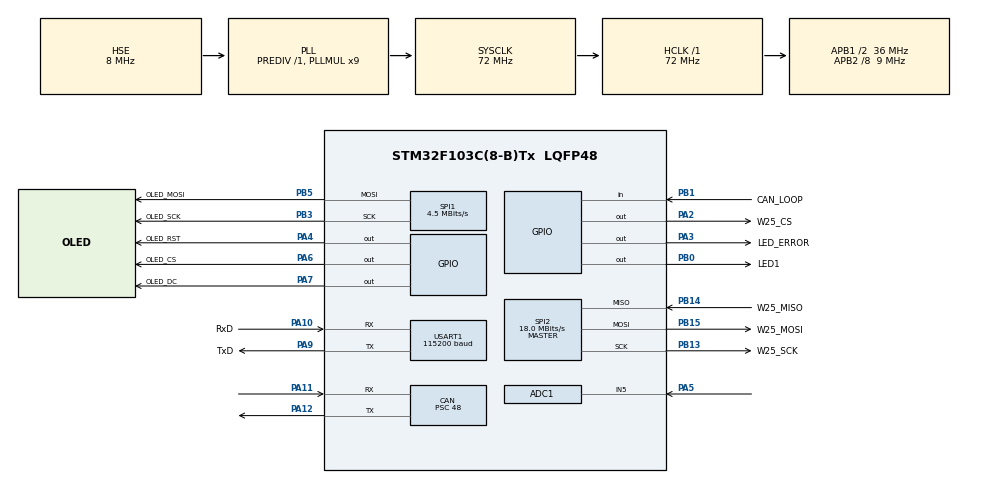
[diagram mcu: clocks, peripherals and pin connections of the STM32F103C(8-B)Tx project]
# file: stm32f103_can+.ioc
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ADC1.Channel-0\#ChannelRegularConversion=ADC_CHANNEL_5
ADC1.ContinuousConvMode=ENABLE
ADC1.NbrOfConversionFlag=1
ADC1.Rank-0\#ChannelRegularConversion=1
ADC1.SamplingTime-0\#ChannelRegularConversion=ADC_SAMPLETIME_1CYCLE_5
ADC1.master=1
CAN.ABOM=DISABLE
CAN.AWUM=DISABLE
CAN.BS1=CAN_BS1_3TQ
CAN.BS2=CAN_BS2_2TQ
CAN.CalculateTimeBit=8000
CAN.CalculateTimeQuantum=1333.3333333333335
CAN.Mode=CAN_MODE_NORMAL
CAN.NART=DISABLE
CAN.Prescaler=48
CAN.RFLM=DISABLE
CAN.TTCM=DISABLE
CAN.TXFP=DISABLE
Dma.Request0=USART1_TX
Dma.Request1=SPI1_TX
Dma.SPI1_TX.1.Direction=DMA_MEMORY_TO_PERIPH
Dma.SPI1_TX.1.Instance=DMA1_Channel3
Dma.SPI1_TX.1.MemDataAlignment=DMA_MDATAALIGN_BYTE
Dma.SPI1_TX.1.MemInc=DMA_MINC_ENABLE
Dma.SPI1_TX.1.Mode=DMA_NORMAL
Dma.SPI1_TX.1.PeriphDataAlignment=DMA_PDATAALIGN_BYTE
Dma.SPI1_TX.1.PeriphInc=DMA_PINC_DISABLE
Dma.SPI1_TX.1.Priority=DMA_PRIORITY_MEDIUM
Dma.USART1_TX.0.Direction=DMA_MEMORY_TO_PERIPH
Dma.USART1_TX.0.Instance=DMA1_Channel4
Dma.USART1_TX.0.MemDataAlignment=DMA_MDATAALIGN_BYTE
Dma.USART1_TX.0.MemInc=DMA_MINC_ENABLE
Dma.USART1_TX.0.Mode=DMA_NORMAL
Dma.USART1_TX.0.PeriphDataAlignment=DMA_PDATAALIGN_BYTE
Dma.USART1_TX.0.PeriphInc=DMA_PINC_DISABLE
Dma.USART1_TX.0.Priority=DMA_PRIORITY_HIGH
FREERTOS.HEAP_NUMBER=4
FREERTOS.INCLUDE_eTaskGetState=1
FREERTOS.INCLUDE_pcTaskGetTaskName=1
FREERTOS.INCLUDE_uxTaskGetStackHighWaterMark=1
FREERTOS.INCLUDE_vTaskCleanUpResources=1
FREERTOS.INCLUDE_vTaskDelayUntil=1
FREERTOS.INCLUDE_xEventGroupSetBitFromISR=0
FREERTOS.INCLUDE_xQueueGetMutexHolder=1
FREERTOS.INCLUDE_xSemaphoreGetMutexHolder=1
FREERTOS.INCLUDE_xTaskAbortDelay=1
FREERTOS.INCLUDE_xTaskGetCurrentTaskHandle=1
FREERTOS.INCLUDE_xTaskGetHandle=1
FREERTOS.INCLUDE_xTimerPendFunctionCall=0
FREERTOS.MEMORY_ALLOCATION=0
FREERTOS.Tasks01=defTask,-3,768,TaskDef,Default,NULL,Dynamic,NULL,NULL
FREERTOS.configCHECK_FOR_STACK_OVERFLOW=0
FREERTOS.configMINIMAL_STACK_SIZE=128
FREERTOS.configQUEUE_REGISTRY_SIZE=4
FREERTOS.configTOTAL_HEAP_SIZE=12288
FREERTOS.configUSE_APPLICATION_TASK_TAG=1
FREERTOS.configUSE_COUNTING_SEMAPHORES=1
FREERTOS.configUSE_CO_ROUTINES=0
FREERTOS.configUSE_IDLE_HOOK=1
FREERTOS.configUSE_MALLOC_FAILED_HOOK=1
FREERTOS.configUSE_MUTEXES=1
FREERTOS.configUSE_RECURSIVE_MUTEXES=1
FREERTOS.configUSE_TICKLESS_IDLE=1
FREERTOS.configUSE_TICK_HOOK=1
FREERTOS.configUSE_TIMERS=0
Mcu.Family=STM32F1
Mcu.Name=STM32F103C(8-B)Tx
Mcu.Package=LQFP48
NVIC.ADC1_2_IRQn=true\:15\:0\:true\:false\:true\:false\:true\:true
NVIC.DMA1_Channel3_IRQn=true\:5\:0\:false\:false\:true\:true\:false\:true
NVIC.DMA1_Channel4_IRQn=true\:6\:0\:true\:false\:true\:true\:false\:true
NVIC.PriorityGroup=NVIC_PRIORITYGROUP_4
NVIC.RTC_IRQn=true\:2\:0\:true\:false\:true\:false\:true\:true
NVIC.SPI1_IRQn=true\:4\:0\:true\:false\:true\:false\:true\:true
NVIC.SPI2_IRQn=true\:5\:0\:true\:false\:true\:true\:true\:true
NVIC.TIM1_UP_IRQn=true\:1\:0\:true\:false\:true\:false\:true\:true
NVIC.TIM4_IRQn=true\:0\:0\:false\:false\:true\:false\:false\:true
NVIC.TimeBase=TIM4_IRQn
NVIC.TimeBaseIP=TIM4
NVIC.USART1_IRQn=true\:3\:0\:true\:false\:true\:false\:true\:true
NVIC.USB_LP_CAN1_RX0_IRQn=true\:7\:0\:true\:false\:true\:false\:true\:true
PA10.GPIO_Label=RxD
PA10.GPIO_Mode=GPIO_MODE_INPUT
PA10.GPIO_PuPd=GPIO_NOPULL
PA10.Mode=Asynchronous
PA10.Signal=USART1_RX
PA11.Mode=Master
PA11.Signal=CAN_RX
PA12.Mode=Master
PA12.Signal=CAN_TX
PA13.Mode=Serial_Wire
PA13.Signal=SYS_JTMS-SWDIO
PA14.Mode=Serial_Wire
PA14.Signal=SYS_JTCK-SWCLK
PA2.GPIO_Label=W25_CS
PA2.GPIO_PuPd=GPIO_PULLUP
PA2.Signal=GPIO_Output
PA3.GPIO_Label=LED_ERROR
PA3.GPIO_PuPd=GPIO_PULLUP
PA3.Signal=GPIO_Output
PA4.GPIO_Label=OLED_RST
PA4.GPIO_PuPd=GPIO_NOPULL
PA4.GPIO_Speed=GPIO_SPEED_FREQ_HIGH
PA4.Signal=GPIO_Output
PA5.Signal=ADCx_IN5
PA6.GPIO_Label=OLED_CS
PA6.GPIO_PuPd=GPIO_NOPULL
PA6.GPIO_Speed=GPIO_SPEED_FREQ_HIGH
PA6.Signal=GPIO_Output
PA7.GPIO_Label=OLED_DC
PA7.GPIO_PuPd=GPIO_NOPULL
PA7.GPIO_Speed=GPIO_SPEED_FREQ_HIGH
PA7.Signal=GPIO_Output
PA9.GPIO_Label=TxD
PA9.GPIO_Mode=GPIO_MODE_AF_PP
PA9.GPIO_Speed=GPIO_SPEED_FREQ_HIGH
PA9.Mode=Asynchronous
PA9.Signal=USART1_TX
PB0.GPIO_Label=LED1
PB0.GPIO_ModeDefaultOutputPP=GPIO_MODE_OUTPUT_PP
PB0.GPIO_PuPd=GPIO_PULLUP
PB0.GPIO_Speed=GPIO_SPEED_FREQ_LOW
PB0.PinState=GPIO_PIN_RESET
PB0.Signal=GPIO_Output
PB1.GPIO_Label=CAN_LOOP
PB1.GPIO_PuPd=GPIO_PULLUP
PB1.Signal=GPIO_Input
PB13.GPIO_Label=W25_SCK
PB13.Mode=Full_Duplex_Master
PB13.Signal=SPI2_SCK
PB14.GPIO_Label=W25_MISO
PB14.Mode=Full_Duplex_Master
PB14.Signal=SPI2_MISO
PB15.GPIO_Label=W25_MOSI
PB15.Mode=Full_Duplex_Master
PB15.Signal=SPI2_MOSI
PB3.GPIO_Label=OLED_SCK
PB3.Mode=TX_Only_Simplex_Unidirect_Master
PB3.Signal=SPI1_SCK
PB5.GPIO_Label=OLED_MOSI
PB5.Mode=TX_Only_Simplex_Unidirect_Master
PB5.Signal=SPI1_MOSI
PC14-OSC32_IN.Mode=LSE-External-Oscillator
PC14-OSC32_IN.Signal=RCC_OSC32_IN
PC15-OSC32_OUT.Mode=LSE-External-Oscillator
PC15-OSC32_OUT.Signal=RCC_OSC32_OUT
PD0-OSC_IN.Mode=HSE-External-Oscillator
PD0-OSC_IN.Signal=RCC_OSC_IN
PD1-OSC_OUT.Mode=HSE-External-Oscillator
PD1-OSC_OUT.Signal=RCC_OSC_OUT
ProjectManager.HeapSize=0x200
ProjectManager.StackSize=0x400
ProjectManager.TargetToolchain=SW4STM32
RCC.ADCPresc=RCC_ADCPCLK2_DIV8
RCC.AHBFreq_Value=72000000
RCC.APB1CLKDivider=RCC_HCLK_DIV2
RCC.APB1Freq_Value=36000000
RCC.APB1TimFreq_Value=72000000
RCC.APB2CLKDivider=RCC_HCLK_DIV8
RCC.APB2Freq_Value=9000000
RCC.APB2TimFreq_Value=18000000
RCC.HCLKFreq_Value=72000000
RCC.PLLMUL=RCC_PLL_MUL9
RCC.PLLSourceVirtual=RCC_PLLSOURCE_HSE
RCC.RTCClockSelection=RCC_RTCCLKSOURCE_LSE
RCC.SYSCLKFreq_VALUE=72000000
RCC.SYSCLKSource=RCC_SYSCLKSOURCE_PLLCLK
RCC.USBFreq_Value=72000000
RTC.AutoPrediv=RTC_AUTO_1_SECOND
RTC.Format=RTC_FORMAT_BIN
RTC.OutPut=RTC_OUTPUTSOURCE_ALARM
SH.ADCx_IN5.0=ADC1_IN5,IN5
SPI1.BaudRatePrescaler=SPI_BAUDRATEPRESCALER_2
SPI1.CalculateBaudRate=4.5 MBits/s
SPI1.Direction=SPI_DIRECTION_2LINES
SPI1.Mode=SPI_MODE_MASTER
SPI1.VirtualType=VM_MASTER
SPI2.CalculateBaudRate=18.0 MBits/s
SPI2.Direction=SPI_DIRECTION_2LINES
SPI2.Mode=SPI_MODE_MASTER
SPI2.VirtualType=VM_MASTER
TIM1.AutoReloadPreload=TIM_AUTORELOAD_PRELOAD_ENABLE
TIM1.Period=499
TIM1.Prescaler=17999
TIM1.TIM_MasterOutputTrigger=TIM_TRGO_UPDATE
USART1.BaudRate=115200
USART1.VirtualMode=VM_ASYNC
VP_FREERTOS_VS_CMSIS_V1.Mode=CMSIS_V1
VP_RTC_VS_RTC_Activate.Mode=RTC_Enabled
VP_RTC_VS_RTC_Calendar.Mode=RTC_Calendar
VP_SYS_VS_tim4.Mode=TIM4
VP_TIM1_VS_ClockSourceINT.Mode=Internal
board=custom

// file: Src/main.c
/* USER CODE BEGIN Header */
/**
  ******************************************************************************
  * @file           : main.c
  * @brief          : Main program body
  ******************************************************************************
  * @attention
  *
  * <h2><center>&copy; Copyright (c) 2020 STMicroelectronics.
  * All rights reserved.</center></h2>
  *
  * This software component is licensed by ST under Ultimate Liberty license
  * SLA0044, the "License"; You may not use this file except in compliance with
  * the License. You may obtain a copy of the License at:
  *                             www.st.com/SLA0044
  *
  ******************************************************************************
  */
/* USER CODE END Header */

#include "main.h"
#include "cmsis_os.h"

/* USER CODE BEGIN Includes */
/*
 *
 *                       with : I2C2, CAN, SPI1(+dma), USART1(+dma)
 *
post-build steps command:
arm-none-eabi-objcopy -O binary "${BuildArtifactFileBaseName}.elf" "${BuildArtifactFileBaseName}.bin" && ls -la | grep "${BuildArtifactFileBaseName}.*"

LINK:
-mcpu=cortex-m4 -mthumb -mfloat-abi=hard -mfpu=fpv4-sp-d16 -u_printf_float -T"../STM32F407VGTx_FLASH.ld" -Wl,-Map=output.map -Wl,--gc-sections -lm

-mcpu=cortex-m4 -mthumb -mfloat-abi=hard -mfpu=fpv4-sp-d16 -u_printf_float -specs=nosys.specs -T"../STM32F407VGTx_FLASH.ld" -Wl,-Map=output.map -Wl,--gc-sections -lm

-mcpu=cortex-m4 -mthumb -mfloat-abi=hard -mfpu=fpv4-sp-d16 -specs=nosys.specs -specs=nano.specs -u_printf_float -T"../STM32F407VGTx_FLASH.ld" -Wl,-Map=output.map -Wl,--gc-sections -lm
-specs=nano.specs
*/

#include "ssd1306.h"
/* USER CODE END Includes */

/* USER CODE BEGIN PTD */
#ifdef SET_W25FLASH
	#include "w25.h"
#endif
/* USER CODE END PTD */

/* USER CODE BEGIN PD */
//const char *version = "Version 1.1 (23.02.2020)";
//const char *version = "Version 1.2.1 (23.02.2020)";//error while erase page (no decision yet)
const char *version = "Version 1.3 (23.02.2020)";//fixed bug while erase (enable erase sector only !)
/* USER CODE END PD */

ADC_HandleTypeDef hadc1;

CAN_HandleTypeDef hcan;

RTC_HandleTypeDef hrtc;

SPI_HandleTypeDef hspi1;
SPI_HandleTypeDef hspi2;
DMA_HandleTypeDef hdma_spi1_tx;

TIM_HandleTypeDef htim1;

UART_HandleTypeDef huart1;
DMA_HandleTypeDef hdma_usart1_tx;

osThreadId defTaskHandle;
/* USER CODE BEGIN PV */

#ifdef SET_OLED_SPI
	SPI_HandleTypeDef *portOLED;//hspi1
#endif

#ifdef SET_W25FLASH
	SPI_HandleTypeDef *portFLASH;//hspi2
#endif
#ifdef SET_SEM_UART
	osSemaphoreId semUART;
#endif
#ifdef SET_MUTEX_UART
	osMutexId mutexUART;
#endif

#ifdef SET_SEM_LCD
	osSemaphoreId semLCD;
#endif
#ifdef SET_MUTEX_CLD
	osMutexId mutexLCD;
#endif

CAN_TxHeaderTypeDef   TxHdr;
CAN_RxHeaderTypeDef   RxHdr;
uint8_t               TxData[MAX_CAN_BUF];
uint8_t               RxData[MAX_CAN_BUF];
uint32_t              TxMailbox;
static uint32_t TxCanLen = 8;
static uint32_t CanMode = CAN_MODE_NORMAL;
QueueHandle_t CanQueue;
static uint32_t can_speed = 0;
static uint32_t new_can_speed = 0;
const char *TAGCAN = "sCAN";

static uint32_t new_page = 0;
volatile uint8_t page_flag = 0;
volatile uint8_t restart_flag = 0;

volatile uint8_t sector_flag = 0;
static uint32_t sector = 0;

const char *eol = "\n";

#ifdef SET_OLED_I2C
	I2C_HandleTypeDef *portSSD;
#endif
UART_HandleTypeDef huart1;
TIM_HandleTypeDef htim2;
HAL_StatusTypeDef i2cError = HAL_OK;
volatile static uint32_t secCounter = 0;
volatile static uint64_t HalfSecCounter = 0;
volatile static float dataADC = 0.0;
volatile static bool setDate = false;
static const char *_extDate = "date=";
static const char *_canSpeed = "cspeed=";
static const char *_canPage = "page=";//const char *_canSpeed = "page=";
static const char *_canPAGE = "PAGE=";//const char *_canSpeed = "PAGE=";
static const char *_restart = "restart";
volatile uint8_t csd_flag = 0;
volatile uint32_t extDate = 0;
static char RxBuf[MAX_UART_BUF];
volatile uint8_t rx_uk;
volatile uint8_t uRxByte = 0;

uint8_t GoTxDMA = 0;

//static char buff[MAX_UART_BUF] = {0};

/* USER CODE END PV */

void SystemClock_Config(void);
static void MX_GPIO_Init(void);
static void MX_DMA_Init(void);
static void MX_USART1_UART_Init(void);
static void MX_ADC1_Init(void);
static void MX_RTC_Init(void);
static void MX_TIM1_Init(void);
static void MX_SPI1_Init(void);
static void MX_CAN_Init(void);
static void MX_SPI2_Init(void);
void TaskDef(void const * argument);

/* USER CODE BEGIN PFP */
uint32_t get_tmr(uint32_t sec);
void Report(const char *tag, bool addTime, const char *fmt, ...);
/* USER CODE END PFP */

int main(void)
{

  /* MCU Configuration--------------------------------------------------------*/

  /* Reset of all peripherals, Initializes the Flash interface and the Systick. */
  HAL_Init();

  /* Configure the system clock */
  SystemClock_Config();

  /* Initialize all configured peripherals */
  MX_GPIO_Init();
  MX_DMA_Init();
  MX_USART1_UART_Init();
  MX_ADC1_Init();
  MX_RTC_Init();
  MX_TIM1_Init();
  MX_SPI1_Init();
  MX_SPI2_Init();
  MX_CAN_Init();
  /* USER CODE BEGIN 2 */

  HAL_GPIO_WritePin(GPIOB, LED1_Pin | LED_ERROR_Pin, GPIO_PIN_SET);//LEDs OFF

  // start timer1 + interrupt
  HAL_TIM_Base_Start(&htim1);
  HAL_TIM_Base_Start_IT(&htim1);

  //start ADC1 + interrupt
  HAL_ADC_Start_IT(&hadc1);

  //"start" rx_interrupt
  HAL_UART_Receive_IT(&huart1, (uint8_t *)&uRxByte, 1);

  CanQueue = xQueueCreate(5, sizeof(s_rx_can_t));

  /* USER CODE END 2 */

  /* USER CODE BEGIN RTOS_MUTEX */
  /* add mutexes, ... */
#ifdef SET_MUTEX_LCD
  osMutexDef(itMutex);
  mutexLCD = osMutexCreate(osMutex(itMutex));
#endif
#ifdef SET_MUTEX_UART
  osMutexDef(uitMutex);
  mutexUART = osMutexCreate(osMutex(uitMutex));
#endif
  /* USER CODE END RTOS_MUTEX */

  /* USER CODE BEGIN RTOS_SEMAPHORES */
  /* add semaphores, ... */
#ifdef SET_SEM_UART
  osSemaphoreDef(sem_Uart);
  semUART = osSemaphoreCreate(osSemaphore(sem_Uart), 1);
#endif
#ifdef SET_SEM_LCD
  osSemaphoreDef(semLCD);
  semLCD = osSemaphoreCreate(osSemaphore(semLCD), 1);
#endif
//-------------------------------------------------

#ifdef SET_OLED_I2C
  	  portSSD = &hi2c2;
#endif
#ifdef SET_OLED_SPI
  	  portOLED = &hspi1;//SPI1 - OLED SSD1306
  	  spi_ssd1306_Reset();
#endif
#if defined(SET_OLED_I2C) || defined(SET_OLED_SPI)
  	  ssd1306_on(true);//screen ON
  	  if (!i2cError) {
  		  ssd1306_init();//screen INIT
  		  if (!i2cError) {
  			  ssd1306_pattern();//set any params for screen
  			  if (!i2cError) {
  				  //ssd1306_invert();//set inverse color mode
  				  //if (!i2cError)
  				  	  ssd1306_clear();//clear screen
  			  }
  		  }
  	  }
#endif
  	//MX_SPI2_Init();
  	//MX_CAN_Init();
  	//-------------------------------------------------
  /* USER CODE END RTOS_SEMAPHORES */

  /* Create the thread(s) */
  /* definition and creation of defTask */
  osThreadDef(defTask, TaskDef, osPriorityNormal, 0, 1024);
  defTaskHandle = osThreadCreate(osThread(defTask), NULL);

  /* Start scheduler */
  osKernelStart();

  /* We should never get here as control is now taken by the scheduler */

  /* Infinite loop */

}

void SystemClock_Config(void)
{
  RCC_OscInitTypeDef RCC_OscInitStruct = {0};
  RCC_ClkInitTypeDef RCC_ClkInitStruct = {0};
  RCC_PeriphCLKInitTypeDef PeriphClkInit = {0};

  /** Initializes the CPU, AHB and APB busses clocks
  */
  RCC_OscInitStruct.OscillatorType = RCC_OSCILLATORTYPE_HSE|RCC_OSCILLATORTYPE_LSE;
  RCC_OscInitStruct.HSEState = RCC_HSE_ON;
  RCC_OscInitStruct.HSEPredivValue = RCC_HSE_PREDIV_DIV1;
  RCC_OscInitStruct.LSEState = RCC_LSE_ON;
  RCC_OscInitStruct.HSIState = RCC_HSI_ON;
  RCC_OscInitStruct.PLL.PLLState = RCC_PLL_ON;
  RCC_OscInitStruct.PLL.PLLSource = RCC_PLLSOURCE_HSE;
  RCC_OscInitStruct.PLL.PLLMUL = RCC_PLL_MUL9;
  if (HAL_RCC_OscConfig(&RCC_OscInitStruct) != HAL_OK)
  {
    Error_Handler();
  }
  /** Initializes the CPU, AHB and APB busses clocks
  */
  RCC_ClkInitStruct.ClockType = RCC_CLOCKTYPE_HCLK|RCC_CLOCKTYPE_SYSCLK
                              |RCC_CLOCKTYPE_PCLK1|RCC_CLOCKTYPE_PCLK2;
  RCC_ClkInitStruct.SYSCLKSource = RCC_SYSCLKSOURCE_PLLCLK;
  RCC_ClkInitStruct.AHBCLKDivider = RCC_SYSCLK_DIV1;
  RCC_ClkInitStruct.APB1CLKDivider = RCC_HCLK_DIV2;
  RCC_ClkInitStruct.APB2CLKDivider = RCC_HCLK_DIV8;

  if (HAL_RCC_ClockConfig(&RCC_ClkInitStruct, FLASH_LATENCY_2) != HAL_OK)
  {
    Error_Handler();
  }
  PeriphClkInit.PeriphClockSelection = RCC_PERIPHCLK_RTC|RCC_PERIPHCLK_ADC;
  PeriphClkInit.RTCClockSelection = RCC_RTCCLKSOURCE_LSE;
  PeriphClkInit.AdcClockSelection = RCC_ADCPCLK2_DIV8;
  if (HAL_RCCEx_PeriphCLKConfig(&PeriphClkInit) != HAL_OK)
  {
    Error_Handler();
  }
}

static void MX_ADC1_Init(void)
{

  ADC_ChannelConfTypeDef sConfig = {0};

  /** Common config
  */
  hadc1.Instance = ADC1;
  hadc1.Init.ScanConvMode = ADC_SCAN_DISABLE;
  hadc1.Init.ContinuousConvMode = ENABLE;
  hadc1.Init.DiscontinuousConvMode = DISABLE;
  hadc1.Init.ExternalTrigConv = ADC_SOFTWARE_START;
  hadc1.Init.DataAlign = ADC_DATAALIGN_RIGHT;
  hadc1.Init.NbrOfConversion = 1;
  if (HAL_ADC_Init(&hadc1) != HAL_OK)
  {
    Error_Handler();
  }
  /** Configure Regular Channel
  */
  sConfig.Channel = ADC_CHANNEL_5;
  sConfig.Rank = ADC_REGULAR_RANK_1;
  sConfig.SamplingTime = ADC_SAMPLETIME_1CYCLE_5;
  if (HAL_ADC_ConfigChannel(&hadc1, &sConfig) != HAL_OK)
  {
    Error_Handler();
  }

}

static void MX_CAN_Init(void)
{

  /* USER CODE BEGIN CAN_Init 0 */

	CAN_FilterTypeDef  sFilterConfig;

  /* USER CODE END CAN_Init 0 */

  /* USER CODE BEGIN CAN_Init 1 */

	if (HAL_GPIO_ReadPin(CAN_LOOP_GPIO_Port, CAN_LOOP_Pin) == GPIO_PIN_RESET) CanMode = CAN_MODE_LOOPBACK;//0
	//hcan.Init.Mode = can_mode;//default CAN_MODE_NORMAL -> if CAN_LOOP_Pin == (GPIO_PIN_SET)1
	// 36000 /12 /(3+2+1) = 500 KHz
	// 36000 /24 /(3+2+1) = 250KHz
    // 36000 /48 /(3+2+1) = 125KHz
	// 36000 /18 /(15+4+1) = 100KHz

	//125//hcan.Init.Prescaler = 48;//for 125 KHz
	//hcan.Init.Mode = CanMode;//CAN_MODE_NORMAL;
	//hcan.Init.SyncJumpWidth = CAN_SJW_3TQ;//CAN_SJW_1TQ
	//hcan.Init.TimeSeg1 = CAN_BS1_3TQ;
	//hcan.Init.TimeSeg2 = CAN_BS2_2TQ;

	uint32_t delit = 48;

#ifdef SET_W25FLASH
/**/
	int page = W25qxx_readParamExt(CAN_SPEED_NAME, (void *)&can_speed, typeBIT32, NULL, false);
	if (page < 0) {
		can_speed = 125;//default speed
		page = W25qxx_saveParamExt(CAN_SPEED_NAME, (void *)&can_speed, typeBIT32, sizeof(uint32_t), false);
	}
	if (page >= 0) {
		switch (can_speed) {
		    case 1000: delit =  6; break;
			case  500: delit = 12; break;
			case  250: delit = 24; break;
				//default: delit = 48;
		}
	}
/**/
#endif

  /* USER CODE END CAN_Init 1 */
  hcan.Instance = CAN1;
  hcan.Init.Prescaler = delit;//48;
  hcan.Init.Mode = CanMode;//CAN_MODE_NORMAL;
  hcan.Init.SyncJumpWidth = CAN_SJW_3TQ;//CAN_SJW_1TQ
  hcan.Init.TimeSeg1 = CAN_BS1_3TQ;
  hcan.Init.TimeSeg2 = CAN_BS2_2TQ;
  hcan.Init.TimeTriggeredMode = DISABLE;
  hcan.Init.AutoBusOff = DISABLE;
  hcan.Init.AutoWakeUp = DISABLE;
  hcan.Init.AutoRetransmission = DISABLE;
  hcan.Init.ReceiveFifoLocked = DISABLE;
  hcan.Init.TransmitFifoPriority = DISABLE;
  if (HAL_CAN_Init(&hcan) != HAL_OK)
  {
    Error_Handler();
  }
  /* USER CODE BEGIN CAN_Init 2 */

  if (!can_speed) can_speed = (36000 / hcan.Init.Prescaler) / (1 + 3 + 2);
  //can_speed = (36000 / hcan.Init.Prescaler) / (1 + 3 + 2);//250KHz
  //can_speed = (36000 / hcan.Init.Prescaler) / (1 + 3 + 2);//125KHz
  //can_speed = (36000 / hcan.Init.Prescaler) / (1 + 15 + 4);//100KHz

  /* Configure the CAN Filter */
  sFilterConfig.FilterBank = 0;
  sFilterConfig.FilterMode = CAN_FILTERMODE_IDMASK;
  sFilterConfig.FilterScale = CAN_FILTERSCALE_32BIT;
  sFilterConfig.FilterIdHigh = 0x0000;
  sFilterConfig.FilterIdLow = 0x0000;
  sFilterConfig.FilterMaskIdHigh = 0x0000;
  sFilterConfig.FilterMaskIdLow = 0x0000;
  sFilterConfig.FilterFIFOAssignment = CAN_RX_FIFO0;
  sFilterConfig.FilterActivation = ENABLE;
  sFilterConfig.SlaveStartFilterBank = 14;

  if (HAL_CAN_ConfigFilter(&hcan, &sFilterConfig) != HAL_OK) {
	  errLedOn(__func__);
    Error_Handler();
  }

  /* Activate CAN RX notification */
  if (HAL_CAN_ActivateNotification(&hcan, CAN_IT_RX_FIFO0_MSG_PENDING) != HAL_OK) {
	  errLedOn(__func__);
    Error_Handler();
  }

  /* Configure Transmission process */
  /*TxHdr.StdId = MSG_PACK;
  TxHdr.ExtId = 0x01;
  TxHdr.RTR = CAN_RTR_DATA;
  TxHdr.IDE = CAN_ID_STD;
  TxHdr.DLC = TxCanLen;
  TxHdr.TransmitGlobalTime = DISABLE;*/

  /* Start the CAN peripheral */
  if (HAL_CAN_Start(&hcan) != HAL_OK) {
	  errLedOn(__func__);
    Error_Handler();
  }

  /* USER CODE END CAN_Init 2 */

}

static void MX_RTC_Init(void)
{

  RTC_TimeTypeDef sTime = {0};
  RTC_DateTypeDef DateToUpdate = {0};

  /** Initialize RTC Only
  */
  hrtc.Instance = RTC;
  hrtc.Init.AsynchPrediv = RTC_AUTO_1_SECOND;
  hrtc.Init.OutPut = RTC_OUTPUTSOURCE_ALARM;
  if (HAL_RTC_Init(&hrtc) != HAL_OK)
  {
    Error_Handler();
  }

  /** Initialize RTC and set the Time and Date
  */
  sTime.Hours = 0;
  sTime.Minutes = 0;
  sTime.Seconds = 0;

  if (HAL_RTC_SetTime(&hrtc, &sTime, RTC_FORMAT_BIN) != HAL_OK)
  {
    Error_Handler();
  }
  DateToUpdate.WeekDay = RTC_WEEKDAY_MONDAY;
  DateToUpdate.Month = RTC_MONTH_JANUARY;
  DateToUpdate.Date = 1;
  DateToUpdate.Year = 0;

  if (HAL_RTC_SetDate(&hrtc, &DateToUpdate, RTC_FORMAT_BIN) != HAL_OK)
  {
    Error_Handler();
  }

}

static void MX_SPI1_Init(void)
{

  /* SPI1 parameter configuration*/
  hspi1.Instance = SPI1;
  hspi1.Init.Mode = SPI_MODE_MASTER;
  hspi1.Init.Direction = SPI_DIRECTION_2LINES;
  hspi1.Init.DataSize = SPI_DATASIZE_8BIT;
  hspi1.Init.CLKPolarity = SPI_POLARITY_LOW;
  hspi1.Init.CLKPhase = SPI_PHASE_1EDGE;
  hspi1.Init.NSS = SPI_NSS_SOFT;
  hspi1.Init.BaudRatePrescaler = SPI_BAUDRATEPRESCALER_2;
  hspi1.Init.FirstBit = SPI_FIRSTBIT_MSB;
  hspi1.Init.TIMode = SPI_TIMODE_DISABLE;
  hspi1.Init.CRCCalculation = SPI_CRCCALCULATION_DISABLE;
  hspi1.Init.CRCPolynomial = 10;
  if (HAL_SPI_Init(&hspi1) != HAL_OK)
  {
    Error_Handler();
  }

}

static void MX_SPI2_Init(void)
{

  /* SPI2 parameter configuration*/
  hspi2.Instance = SPI2;
  hspi2.Init.Mode = SPI_MODE_MASTER;
  hspi2.Init.Direction = SPI_DIRECTION_2LINES;
  hspi2.Init.DataSize = SPI_DATASIZE_8BIT;
  hspi2.Init.CLKPolarity = SPI_POLARITY_LOW;
  hspi2.Init.CLKPhase = SPI_PHASE_1EDGE;
  hspi2.Init.NSS = SPI_NSS_SOFT;
  hspi2.Init.BaudRatePrescaler = SPI_BAUDRATEPRESCALER_2;
  hspi2.Init.FirstBit = SPI_FIRSTBIT_MSB;
  hspi2.Init.TIMode = SPI_TIMODE_DISABLE;
  hspi2.Init.CRCCalculation = SPI_CRCCALCULATION_DISABLE;
  hspi2.Init.CRCPolynomial = 10;
  if (HAL_SPI_Init(&hspi2) != HAL_OK)
  {
    Error_Handler();
  }
  /* USER CODE BEGIN SPI2_Init 2 */
#ifdef SET_W25FLASH
	portFLASH = &hspi2;//SPI2 - W25_Flash
	W25_UNSELECT();

  	W25qxx_Init(false);
#endif
  /* USER CODE END SPI2_Init 2 */

}

static void MX_TIM1_Init(void)
{

  TIM_ClockConfigTypeDef sClockSourceConfig = {0};
  TIM_MasterConfigTypeDef sMasterConfig = {0};

  htim1.Instance = TIM1;
  htim1.Init.Prescaler = 17999;
  htim1.Init.CounterMode = TIM_COUNTERMODE_UP;
  htim1.Init.Period = 499;
  htim1.Init.ClockDivision = TIM_CLOCKDIVISION_DIV1;
  htim1.Init.RepetitionCounter = 0;
  htim1.Init.AutoReloadPreload = TIM_AUTORELOAD_PRELOAD_ENABLE;
  if (HAL_TIM_Base_Init(&htim1) != HAL_OK)
  {
    Error_Handler();
  }
  sClockSourceConfig.ClockSource = TIM_CLOCKSOURCE_INTERNAL;
  if (HAL_TIM_ConfigClockSource(&htim1, &sClockSourceConfig) != HAL_OK)
  {
    Error_Handler();
  }
  sMasterConfig.MasterOutputTrigger = TIM_TRGO_UPDATE;
  sMasterConfig.MasterSlaveMode = TIM_MASTERSLAVEMODE_DISABLE;
  if (HAL_TIMEx_MasterConfigSynchronization(&htim1, &sMasterConfig) != HAL_OK)
  {
    Error_Handler();
  }

}

static void MX_USART1_UART_Init(void)
{

  huart1.Instance = USART1;
  huart1.Init.BaudRate = 115200;
  huart1.Init.WordLength = UART_WORDLENGTH_8B;
  huart1.Init.StopBits = UART_STOPBITS_1;
  huart1.Init.Parity = UART_PARITY_NONE;
  huart1.Init.Mode = UART_MODE_TX_RX;
  huart1.Init.HwFlowCtl = UART_HWCONTROL_NONE;
  huart1.Init.OverSampling = UART_OVERSAMPLING_16;
  if (HAL_UART_Init(&huart1) != HAL_OK)
  {
    Error_Handler();
  }

}

static void MX_DMA_Init(void)
{

  /* DMA controller clock enable */
  __HAL_RCC_DMA1_CLK_ENABLE();

  /* DMA interrupt init */
  /* DMA1_Channel3_IRQn interrupt configuration */
  HAL_NVIC_SetPriority(DMA1_Channel3_IRQn, 5, 0);
  HAL_NVIC_EnableIRQ(DMA1_Channel3_IRQn);
  /* DMA1_Channel4_IRQn interrupt configuration */
  HAL_NVIC_SetPriority(DMA1_Channel4_IRQn, 6, 0);
  HAL_NVIC_EnableIRQ(DMA1_Channel4_IRQn);

}

static void MX_GPIO_Init(void)
{
  GPIO_InitTypeDef GPIO_InitStruct = {0};

  /* GPIO Ports Clock Enable */
  __HAL_RCC_GPIOC_CLK_ENABLE();
  __HAL_RCC_GPIOD_CLK_ENABLE();
  __HAL_RCC_GPIOA_CLK_ENABLE();
  __HAL_RCC_GPIOB_CLK_ENABLE();

  /*Configure GPIO pin Output Level */
  HAL_GPIO_WritePin(GPIOA, W25_CS_Pin|LED_ERROR_Pin|OLED_RST_Pin|OLED_CS_Pin
                          |OLED_DC_Pin, GPIO_PIN_RESET);

  /*Configure GPIO pin Output Level */
  HAL_GPIO_WritePin(LED1_GPIO_Port, LED1_Pin, GPIO_PIN_RESET);

  /*Configure GPIO pins : W25_CS_Pin LED_ERROR_Pin */
  GPIO_InitStruct.Pin = W25_CS_Pin|LED_ERROR_Pin;
  GPIO_InitStruct.Mode = GPIO_MODE_OUTPUT_PP;
  GPIO_InitStruct.Pull = GPIO_PULLUP;
  GPIO_InitStruct.Speed = GPIO_SPEED_FREQ_LOW;
  HAL_GPIO_Init(GPIOA, &GPIO_InitStruct);

  /*Configure GPIO pins : OLED_RST_Pin OLED_CS_Pin OLED_DC_Pin */
  GPIO_InitStruct.Pin = OLED_RST_Pin|OLED_CS_Pin|OLED_DC_Pin;
  GPIO_InitStruct.Mode = GPIO_MODE_OUTPUT_PP;
  GPIO_InitStruct.Pull = GPIO_NOPULL;
  GPIO_InitStruct.Speed = GPIO_SPEED_FREQ_HIGH;
  HAL_GPIO_Init(GPIOA, &GPIO_InitStruct);

  /*Configure GPIO pin : LED1_Pin */
  GPIO_InitStruct.Pin = LED1_Pin;
  GPIO_InitStruct.Mode = GPIO_MODE_OUTPUT_PP;
  GPIO_InitStruct.Pull = GPIO_PULLUP;
  GPIO_InitStruct.Speed = GPIO_SPEED_FREQ_LOW;
  HAL_GPIO_Init(LED1_GPIO_Port, &GPIO_InitStruct);

  /*Configure GPIO pin : CAN_LOOP_Pin */
  GPIO_InitStruct.Pin = CAN_LOOP_Pin;
  GPIO_InitStruct.Mode = GPIO_MODE_INPUT;
  GPIO_InitStruct.Pull = GPIO_PULLUP;
  HAL_GPIO_Init(CAN_LOOP_GPIO_Port, &GPIO_InitStruct);

}

/* USER CODE BEGIN 4 */
//*************************************************************************************************
osStatus waitEventUart()
{
#ifdef SET_MUTEX_UART
    return osMutexWait(mutexUART, portMAX_DELAY);
#else
	#ifdef SET_SEM_UART
    	return osSemaphoreWait(semUART, portMAX_DELAY);
	#else
    	return osOK;
	#endif
#endif
}
//-----------------------------------------------------------------------------------------
void doneEventUart()
{
#ifdef SET_MUTEX_UART
	osMutexRelease(mutexUART);
#else
	#ifdef SET_SEM_UART
		osSemaphoreRelease(semUART);
	#endif
#endif
}
//-----------------------------------------------------------------------------------------
//------------------------------------------------------------------------------------------
// set LED_ERROR when error on and send message to UART1 (in from != NULL)
//     from - name of function where error location
void errLedOn(const char *from)
{
	HAL_GPIO_WritePin(LED_ERROR_GPIO_Port, LED_ERROR_Pin, GPIO_PIN_RESET);//LED ON
	HAL_Delay(250);
	HAL_GPIO_WritePin(LED_ERROR_GPIO_Port, LED_ERROR_Pin, GPIO_PIN_SET);//LED OFF
	HAL_Delay(250);
	HAL_GPIO_WritePin(LED_ERROR_GPIO_Port, LED_ERROR_Pin, GPIO_PIN_RESET);//LED ON

	if (from) Report(NULL, true, "Error in function '%s'\r\n", from);
}
//------------------------------------------------------------------------------------------
void set_Date(time_t epoch)
{
RTC_TimeTypeDef sTime;
RTC_DateTypeDef sDate;
struct tm ts;

	gmtime_r(&epoch, &ts);

	sDate.WeekDay = ts.tm_wday;
	sDate.Month   = ts.tm_mon + 1;
	sDate.Date    = ts.tm_mday;
	sDate.Year    = ts.tm_year;
	if (HAL_RTC_SetDate(&hrtc, &sDate, RTC_FORMAT_BIN) != HAL_OK) errLedOn(__func__);
	else {
		sTime.Hours   = ts.tm_hour;
		sTime.Minutes = ts.tm_min;
		sTime.Seconds = ts.tm_sec;
		if (HAL_RTC_SetTime(&hrtc, &sTime, RTC_FORMAT_BIN) != HAL_OK) errLedOn(__func__);
		else {
			setDate = true;
		}
	}
}
//------------------------------------------------------------------------------------------
uint32_t get_Date()
{
	if (!setDate) return get_tmr(0);

	struct tm ts;

	RTC_TimeTypeDef sTime = {0};
	if (HAL_RTC_GetTime(&hrtc, &sTime, RTC_FORMAT_BIN) != HAL_OK) return get_tmr(0);
	ts.tm_hour = sTime.Hours;
	ts.tm_min  = sTime.Minutes;
	ts.tm_sec  = sTime.Seconds;

	RTC_DateTypeDef sDate = {0};
	if (HAL_RTC_GetDate(&hrtc, &sDate, RTC_FORMAT_BIN) != HAL_OK) return get_tmr(0);
	ts.tm_wday = sDate.WeekDay;
	ts.tm_mon  = sDate.Month - 1;
	ts.tm_mday = sDate.Date;
	ts.tm_year = sDate.Year;

	return ((uint32_t)mktime(&ts));
}
//-----------------------------------------------------------------------------
int sec_to_str_time(uint32_t sec, char *stx)
{
int ret = 0;

	if (!setDate) {//no valid date in RTC
		uint32_t day = sec / (60 * 60 * 24);
		sec %= (60 * 60 * 24);
		uint32_t hour = sec / (60 * 60);
		sec %= (60 * 60);
		uint32_t min = sec / (60);
		sec %= 60;
		ret = sprintf(stx, "%lu.%02lu:%02lu:%02lu", day, hour, min, sec);
	} else {//in RTC valid date (epoch time)
		RTC_TimeTypeDef sTime;
		RTC_DateTypeDef sDate;
		if (HAL_RTC_GetDate(&hrtc, &sDate, RTC_FORMAT_BIN) != HAL_OK) errLedOn(__func__);
		else {
			if (HAL_RTC_GetTime(&hrtc, &sTime, RTC_FORMAT_BIN) != HAL_OK) errLedOn(__func__);
			else {
				ret = sprintf(stx, "%02u.%02u %02u:%02u:%02u",
								   sDate.Date, sDate.Month,
								   sTime.Hours, sTime.Minutes, sTime.Seconds);
			}
		}
	}

	return ret;
}
//-----------------------------------------------------------------------------
uint32_t get_secCounter()
{
	return secCounter;
}
//-----------------------------------------------------------------------------
void inc_secCounter()
{
	secCounter++;
}
//-----------------------------------------------------------------------------
uint64_t get_hsCounter()
{
	return HalfSecCounter;
}
//-----------------------------------------------------------------------------
void inc_hsCounter()
{
	HalfSecCounter++;
}
//------------------------------------------------------------------------------------------
uint32_t get_tmr(uint32_t sec)
{
	return (get_secCounter() + sec);
}
//------------------------------------------------------------------------------------------
bool check_tmr(uint32_t sec)
{
	return (get_secCounter() >= sec ? true : false);
}
//------------------------------------------------------------------------------------------
uint64_t get_hstmr(uint64_t hs)
{
	return (get_hsCounter() + hs);
}
//------------------------------------------------------------------------------------------
bool check_hstmr(uint64_t hs)
{
	return (get_hsCounter() >= hs ? true : false);
}
//----------------------------------------------------------------------------------------
int sec_to_string(uint32_t sec, char *stx)
{
int ret = 0;

	if (!setDate) {//no valid date in RTC
		uint32_t day = sec / (60 * 60 * 24);
		sec %= (60 * 60 * 24);
		uint32_t hour = sec / (60 * 60);
		sec %= (60 * 60);
		uint32_t min = sec / (60);
		sec %= 60;
		ret = sprintf(stx, "%03lu.%02lu:%02lu:%02lu ", day, hour, min, sec);
	} else {//in RTC valid date (epoch time)
		RTC_TimeTypeDef sTime;
		RTC_DateTypeDef sDate;
		if (HAL_RTC_GetDate(&hrtc, &sDate, RTC_FORMAT_BIN) != HAL_OK) errLedOn(__func__);
		else {
			if (HAL_RTC_GetTime(&hrtc, &sTime, RTC_FORMAT_BIN) != HAL_OK) errLedOn(__func__);
			else {
				ret = sprintf(stx, "%02u.%02u %02u:%02u:%02u ",
							sDate.Date, sDate.Month,
							sTime.Hours, sTime.Minutes, sTime.Seconds);
			}
		}
	}

    return ret;
}
//------------------------------------------------------------------------------------------
#ifdef SET_FLOAT_PART
void floatPart(float val, s_float_t *part)
{
	part->cel = (uint16_t)val;
	part->dro = (val - part->cel) * 1000;
}
#endif
//----------------------------------------------------------------------------------------
void Report(const char *tag, bool addTime, const char *fmt, ...)
{
HAL_StatusTypeDef er = HAL_OK;
va_list args;
size_t len = MAX_UART_BUF;
int dl = 0;

	char *buff = (char *)pvPortMalloc(len);//vPortFree(buff);
	if (buff) {
		buff[0] = 0;
		if (addTime) {
			uint32_t ep;
			if (!setDate) ep = get_secCounter();
					 else ep = extDate;
			dl = sec_to_string(ep, buff);
		}
    if (tag) dl += sprintf(buff+strlen(buff), "[%s] ", tag);
		va_start(args, fmt);
		vsnprintf(buff + dl, len - dl, fmt, args);
		if (waitEventUart() == osOK) {
			//
			er = HAL_UART_Transmit_DMA(&huart1, (uint8_t *)buff, strlen(buff));
			while (HAL_UART_GetState(&huart1) != HAL_UART_STATE_READY) {
				if (HAL_UART_GetState(&huart1) == HAL_UART_STATE_BUSY_RX) break;
				HAL_Delay(1);
			}
			//
			doneEventUart();
		} else er = HAL_ERROR;
		va_end(args);
		vPortFree(buff);
	} else er = HAL_ERROR;

	if (er != HAL_OK) errLedOn(NULL);
}
//------------------------------------------------------------------------------------------
//------------------------------------------------------------------------------------------
//------------------------------------------------------------------------------------------
void HAL_ADC_ConvCpltCallback(ADC_HandleTypeDef *hadc)
{
	if (hadc->Instance == ADC1) {
		dataADC = ((float)HAL_ADC_GetValue(hadc)) * 3.3 / 4096;
	}
}
//------------------------------------------------------------------------------------------
void HAL_UART_RxCpltCallback(UART_HandleTypeDef *huart)
{
	if (huart->Instance == USART1) {
		RxBuf[rx_uk & 0xff] = (char)uRxByte;
		if (uRxByte == 0x0d) {//end of line
			char *uk = strstr(RxBuf, _extDate);//const char *_extDate = "date=";
			if (uk) {
				uk += strlen(_extDate);
				if (*uk != '?') {
					if (strlen(uk) < 10) setDate = false;
					else {
						extDate = atoi(uk);
						set_Date((time_t)extDate);
					}
				} else setDate = true;
			} else {
				uk = strstr(RxBuf, _canSpeed);//const char *_canSpeed = "cspeed=";
				if (uk) {
					uk += strlen(_canSpeed);
					if (!csd_flag) {
						new_can_speed = atoi(uk);
						csd_flag = 1;
					}
				} else {
					uk = strstr(RxBuf, _canPage);//const char *_canSpeed = "page=";
					if (uk) {
						uk += 5;
						if (!page_flag) {
							new_page = atoi(uk);
							page_flag = 1;
						}
					} else {
						uk = strstr(RxBuf, _canPAGE);//const char *_canSpeed = "PAGE=";
						if (uk) {
							uk += 5;
							if (!page_flag) {
								new_page = atoi(uk);
								page_flag = 2;
							}
						} else {
							if (strstr(RxBuf, _restart)) {//const char *_restart = "restart";
								if (!restart_flag) restart_flag = 1;
							} else {
								uk = strstr(RxBuf, "format=");//const char *_format = "format=";
								if (uk) {
									uk += 7;
									if (!sector_flag) {
										sector = atoi(uk);
										sector_flag = 1;
									}
								}
							}
						}
					}
				}
			}
			rx_uk = 0;
			memset(RxBuf, 0, sizeof(RxBuf));
		} else rx_uk++;

		HAL_UART_Receive_IT(huart, (uint8_t *)&uRxByte, 1);

	}
}
//-------------------------------------------------------------------------------------------
void HAL_CAN_RxFifo0MsgPendingCallback(CAN_HandleTypeDef *hc)
{
    if (hc->Instance == CAN1) {
    	if (HAL_CAN_GetRxMessage(hc, CAN_RX_FIFO0, &RxHdr, RxData) == HAL_OK) {
    		bool yes = false;
    		if (hc->Init.Mode == CAN_MODE_NORMAL) {
    			if (RxHdr.StdId == MSG_TIME_SET) {
    				uint32_t epoch = 0;
    				memcpy((uint8_t *)&epoch, RxData, sizeof(uint32_t));
    				set_Date((time_t)epoch);
    				yes = true;
    			}
    		} else if (hc->Init.Mode == CAN_MODE_LOOPBACK) {
    			if (RxHdr.StdId == MSG_PACK) {
    				yes = true;
    			}
    		}
    		if (yes) {
    			s_rx_can_t evt;
    			memcpy((uint8_t *)&evt, (uint8_t *)&RxHdr, sizeof(CAN_RxHeaderTypeDef));
    			memcpy((uint8_t *)&evt.data, RxData, RxHdr.DLC);
    			BaseType_t PriorityTaskWoken = 1, xCopyPosition = 0;
    			xQueueGenericSendFromISR(CanQueue, (const void *)&evt, &PriorityTaskWoken, xCopyPosition);
    		}
    	} else Error_Handler();
    }
}
//*************************************************************************************************
/* USER CODE END 4 */

void TaskDef(void const * argument)
{
  /* USER CODE BEGIN 5 */

	//MX_CAN_Init();

char buf[1024] = {0};

TxMailbox = CAN_TX_MAILBOX0;
uint16_t ik = 0;
s_rx_can_t evt = {0};
char stx[MAX_CAN_BUF << 3] = {0};
char screen[64] = {0};
uint8_t col = 0, cnt = 0;
int8_t i;
uint32_t ts = 0, tmr = get_tmr(1);
uint32_t cnt_tx = 0, cnt_rx = 0;
short dl = 0, ldl = 1;

TxCanLen = 8;
TxHdr.DLC = TxCanLen;
TxHdr.StdId = MSG_PACK;
TxHdr.ExtId = 0;//0x01;
TxHdr.RTR = CAN_RTR_DATA;
TxHdr.IDE = CAN_ID_STD;
TxHdr.TransmitGlobalTime = DISABLE;

#ifdef SET_FLOAT_PART
	s_float_t vcc = {0, 0};
#endif
	//
	switch (hcan.Init.Mode) {
		case CAN_MODE_NORMAL ://(0x00000000U)  // Normal mode
			strcpy(buf, "CAN_MODE_NORMAL");
		break;
		case CAN_MODE_LOOPBACK ://((uint32_t)CAN_BTR_LBKM)  //Loopback mode
			strcpy(buf, "CAN_MODE_LOOPBACK");
		break;
		case CAN_MODE_SILENT : //((uint32_t)CAN_BTR_SILM)  //Silent mode
			strcpy(buf, "CAN_MODE_SILENT");
		break;
		case CAN_MODE_SILENT_LOOPBACK : //((uint32_t)(CAN_BTR_LBKM | CAN_BTR_SILM))  //Loopback + silent mode
			strcpy(buf, "CAN_MODE_SILENT_LOOPBACK");
		break;
			default : strcpy(buf, "Unknown CAN_MODE");
	}
	//
	Report(NULL, false, "%sStart default task | CAN : mode=%s speed=%u KHz%s", eol, buf, can_speed, eol);
	//
#ifdef SET_W25FLASH

	uint8_t *fb = NULL;
	int page = -1;
	uint8_t plen = 0;
	bool priz = false;
	fb = (uint8_t *)pvPortMalloc(w25qxx.PageSize);//vPortFree(buff);

/*
	W25qxx_EraseChip(true);
*/
	AboutFlashChip();
	/**/
	if (w25qxx.ID && fb) {
		/*
		ts = w25qxx.SectorCount / 64;
		Report(NULL, false, "Start format all sectors (%lu) ", w25qxx.SectorCount);
		for (int sek = 0; sek < w25qxx.SectorCount; sek++) {
			formatSector(sek, false);
			ts--;
			if (!ts) {
				ts = w25qxx.SectorCount / 64;
				Report(NULL, false, ".");
			}
		}
		Report(NULL, false, " done%s", eol);
		*/
		//
		//formatSector(0, true);
		//
		memset(fb, 0, w25qxx.PageSize);
		page = W25qxx_readParamExt(CAN_VER_NAME, (void *)fb, typeBITX, &plen, true);//return pageAddr or -1
		if (page == -1) {
			Report(TAGW25, true, "Param '%s' Not present, save current value='%s'%s", CAN_VER_NAME, version, eol);
			page = W25qxx_saveParamExt(CAN_VER_NAME, (void *)version, typeBITX, (uint8_t)strlen(version), true);
			if (page != -1) {
				page = W25qxx_readParamExt(CAN_VER_NAME, (void *)fb, typeBITX, &plen, true);
			}
		} else {
			if (strncmp((char *)fb, version, strlen(version))) {
				Report(TAGW25, true, "Param '%s' :\n\tcur_value='%s'\n\told_value='%.*s'%s",
						              CAN_VER_NAME, version, plen, fb, eol);
				page = W25qxx_saveParamExt(CAN_VER_NAME, (void *)version, typeBITX, (uint8_t)strlen(version), true);
				if (page != -1) {
					page = W25qxx_readParamExt(CAN_VER_NAME, (void *)fb, typeBITX, &plen, true);
				}
			}
		}
		if (page != -1) {
			Report(TAGW25, true, "Param '%s[%u]'='%.*s' present on page #%d%s", CAN_VER_NAME, plen, plen, (char *)fb, page, eol);
			//prnPage(page, true);
		}
	}
	/**/
#endif

	//
	ssd1306_clear_line(2);
	ssd1306_text_xy(screen, ssd1306_calcx(sprintf(screen, "Can : %lu KHz", can_speed)), 2);
	//

	/* Infinite loop */
	while (1) {
		if (check_tmr(tmr)) {
			tmr = get_tmr(1);
			if (!i2cError) {
				dl = sec_to_str_time(tmr - 1, buf);
				col = ssd1306_calcx(dl);
				if (dl != ldl) {
					ssd1306_clear_line(1);
					ldl = dl;
				}
#ifdef SET_FLOAT_PART
				floatPart(dataADC, &vcc);
				sprintf(buf+strlen(buf), "\n\nVolt : %u.%u\nFreeMem : %u", vcc.cel, vcc.dro, xPortGetFreeHeapSize());
#else
				sprintf(buf+strlen(buf), "\n\nVolt : %.3f\nFreeMem : %u", dataADC, xPortGetFreeHeapSize());
#endif
				ssd1306_text_xy(buf, col, 1);
			}
			cnt++;
			if (cnt == 10) {
				cnt = 0;
				stx[0] = 0;
				//
				ts = get_Date();
				memcpy(TxData, (uint32_t *)&ts, sizeof(uint32_t));
				memcpy(&TxData[4], (uint8_t *)&vcc, sizeof(uint32_t));
				//
				ik = 0;
				while (!HAL_CAN_GetTxMailboxesFreeLevel(&hcan) && ++ik) {}
				HAL_Delay(5);
				//
				if (HAL_CAN_AddTxMessage(&hcan, &TxHdr, TxData, &TxMailbox) != HAL_OK) errLedOn("HAL_CAN_AddTxMessage()");
				else
				for (i = 0; i < MAX_CAN_BUF; i++) sprintf(stx+strlen(stx), " %02X", TxData[i]);
				cnt_tx++;
				//
                ssd1306_clear_line(6);
                col = ssd1306_calcx(sprintf(screen, "Tx msg #%lu", cnt_tx));
				ssd1306_text_xy(screen, col, 6);
				//
#ifdef SET_FLOAT_PART
				sprintf(buf, "Id=0x%lX #%lu, Vcc=%u.%u Time=%lu TX[%lu]=%s\n",
					     TxHdr.StdId, cnt_tx, vcc.cel, vcc.dro, ts, TxHdr.DLC, stx);
#else
				sprintf(buf, "Id=0x%lX #%lu, Vcc=%.3f Time=%lu TX[%lu]=%s\n",
                                             TxHdr.StdId, cnt_tx, dataADC, TxHdr.DLC, stx);
#endif
				Report(TAGCAN, true, buf);
			}

		}
		//
		if (xQueueReceive(CanQueue, &evt, (TickType_t)0) == pdTRUE) {
			cnt_rx++;
			stx[0] = 0;
			dl = 0;
			for (i = 0; i < evt.hdr.DLC; i++) sprintf(stx+strlen(stx), " %02X", evt.data[i]);
			ssd1306_clear_line(8);
			memcpy((uint8_t *)&ts, (uint8_t *)&evt.data, sizeof(uint32_t));
			if (evt.hdr.StdId == MSG_PACK) {
				dl = sprintf(screen, "Volt : %u.%u", vcc.cel, vcc.dro);
				memcpy((uint8_t *)&vcc, (uint32_t *)&evt.data[4], sizeof(uint32_t));
				Report(TAGCAN, true, "Id=0x%lX #%lu, Vcc=%u.%u Time=%lu RX[%lu]=%s\n",
				                     evt.hdr.StdId, cnt_rx, vcc.cel, vcc.dro, ts, evt.hdr.DLC, stx);
			} else if (evt.hdr.StdId == MSG_TIME_SET) {
				dl = sprintf(screen, "Rx msg #%lu", cnt_rx);
				Report(TAGCAN, true, "Id=0x%lX #%lu, Epoch=%lu RX[%lu]=%s\n",
							         evt.hdr.StdId, cnt_rx, ts, evt.hdr.DLC, stx);
			} else {
				dl = sprintf(screen, "Rx msg #%lu", cnt_rx);
				Report(TAGCAN, true, "Id=0x%lX #%lu, RX[%lu]=%s\n", evt.hdr.StdId, cnt_rx, evt.hdr.DLC, stx);
			}
			if (dl) ssd1306_text_xy(screen, ssd1306_calcx(dl), 8);
		}

		osDelay(1);

#ifdef SET_W25FLASH
		if (csd_flag) {
			csd_flag = 0;
			if (new_can_speed != can_speed) {
				Report(TAGW25, true, "Old_can_speed=%lu New_can_speed=%lu -> save...%s", can_speed, new_can_speed, eol);
				page = W25qxx_saveParamExt(CAN_SPEED_NAME, (void *)&new_can_speed, typeBIT32, sizeof(uint32_t), true);
				if (page != -1) {
					page = W25qxx_readParamExt(CAN_SPEED_NAME, (void *)&can_speed, typeBIT32, &plen, true);//return pageAddr or -1
					Report(TAGW25, true, "Param '%s'=%u KHz present on page #%d%s", CAN_SPEED_NAME, can_speed, page, eol);
					prnPage(typeBIT32, true);
				}
			}
		}
		if (page_flag) {
			if (page_flag == 2) priz = true; else priz = false;
			page_flag = 0;
			prnPage(new_page, priz);
		}
		if (sector_flag) {
			sector_flag = 0;
			formatSector(sector, true);
		}
		if (restart_flag) {
			NVIC_SystemReset();
		}
#endif

	}
#ifdef SET_W25FLASH
	if (fb) vPortFree(fb);
#endif
  /* USER CODE END 5 */
}

void HAL_TIM_PeriodElapsedCallback(TIM_HandleTypeDef *htim)
{
  if (htim->Instance == TIM4) {
    HAL_IncTick();
  }
  /* USER CODE BEGIN Callback 1 */
  if (htim->Instance == TIM1) {//half seconda
 	  if (get_hsCounter() & 1) {//seconda
 		  inc_secCounter();
 		  HAL_GPIO_TogglePin(GPIOB, LED1_Pin);//set ON/OFF LED1
 		  /*
 		  char buf[32];
 		  sec_to_str_time(get_secCounter(), buf);
 		  ssd1306_text_xy(buf, 2, 8);
 		  */
 	  }
 	  inc_hsCounter();
   }
  /* USER CODE END Callback 1 */
}

void Error_Handler(void)
{
}

/************************ (C) COPYRIGHT STMicroelectronics *****END OF FILE****/

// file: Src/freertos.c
/* USER CODE BEGIN Header */
/**
  ******************************************************************************
  * File Name          : freertos.c
  * Description        : Code for freertos applications
  ******************************************************************************
  * @attention
  *
  * <h2><center>&copy; Copyright (c) 2020 STMicroelectronics.
  * All rights reserved.</center></h2>
  *
  * This software component is licensed by ST under Ultimate Liberty license
  * SLA0044, the "License"; You may not use this file except in compliance with
  * the License. You may obtain a copy of the License at:
  *                             www.st.com/SLA0044
  *
  ******************************************************************************
  */
/* USER CODE END Header */

#include "FreeRTOS.h"
#include "task.h"
#include "main.h"

/* Pre/Post sleep processing prototypes */
void PreSleepProcessing(uint32_t *ulExpectedIdleTime);
void PostSleepProcessing(uint32_t *ulExpectedIdleTime);

/* Hook prototypes */
void vApplicationIdleHook(void);
void vApplicationTickHook(void);
void vApplicationMallocFailedHook(void);

/* USER CODE BEGIN 2 */
__weak void vApplicationIdleHook( void )
{
   /* vApplicationIdleHook() will only be called if configUSE_IDLE_HOOK is set
   to 1 in FreeRTOSConfig.h. It will be called on each iteration of the idle
   task. It is essential that code added to this hook function never attempts
   to block in any way (for example, call xQueueReceive() with a block time
   specified, or call vTaskDelay()). If the application makes use of the
   vTaskDelete() API function (as this demo application does) then it is also
   important that vApplicationIdleHook() is permitted to return to its calling
   function, because it is the responsibility of the idle task to clean up
   memory allocated by the kernel to any task that has since been deleted. */
}
/* USER CODE END 2 */

/* USER CODE BEGIN 3 */
__weak void vApplicationTickHook( void )
{
   /* This function will be called by each tick interrupt if
   configUSE_TICK_HOOK is set to 1 in FreeRTOSConfig.h. User code can be
   added here, but the tick hook is called from an interrupt context, so
   code must not attempt to block, and only the interrupt safe FreeRTOS API
   functions can be used (those that end in FromISR()). */
}
/* USER CODE END 3 */

/* USER CODE BEGIN 5 */
__weak void vApplicationMallocFailedHook(void)
{
   /* vApplicationMallocFailedHook() will only be called if
   configUSE_MALLOC_FAILED_HOOK is set to 1 in FreeRTOSConfig.h. It is a hook
   function that will get called if a call to pvPortMalloc() fails.
   pvPortMalloc() is called internally by the kernel whenever a task, queue,
   timer or semaphore is created. It is also called by various parts of the
   demo application. If heap_1.c or heap_2.c are used, then the size of the
   heap available to pvPortMalloc() is defined by configTOTAL_HEAP_SIZE in
   FreeRTOSConfig.h, and the xPortGetFreeHeapSize() API function can be used
   to query the size of free heap space that remains (although it does not
   provide information on how the remaining heap might be fragmented). */
}
/* USER CODE END 5 */

/* USER CODE BEGIN PREPOSTSLEEP */
__weak void PreSleepProcessing(uint32_t *ulExpectedIdleTime)
{
/* place for user code */
}

__weak void PostSleepProcessing(uint32_t *ulExpectedIdleTime)
{
/* place for user code */
}
/* USER CODE END PREPOSTSLEEP */

/************************ (C) COPYRIGHT STMicroelectronics *****END OF FILE****/
